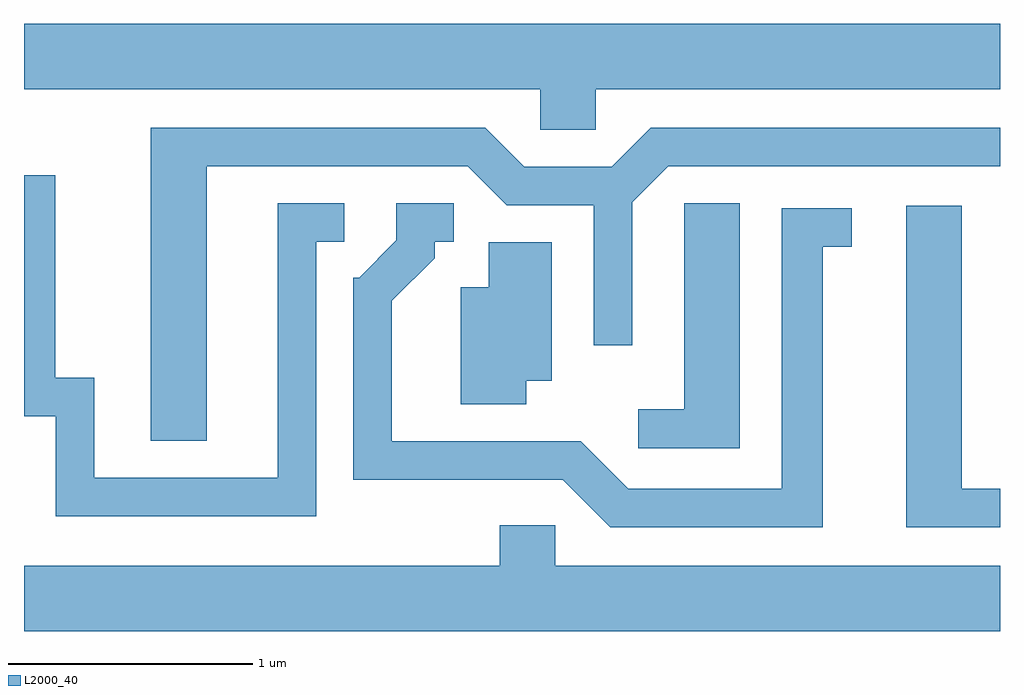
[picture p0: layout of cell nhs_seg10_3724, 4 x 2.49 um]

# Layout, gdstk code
import gdstk
lib = gdstk.Library(unit=1e-6, precision=1e-09)
def P(c, l, *ps):  # polygons
    for p in ps: c.add(gdstk.Polygon(p, *l))
L2000_40 = (2000, 40)

nhs_seg10_3724 = lib.new_cell('nhs_seg10_3724')
P(nhs_seg10_3724, L2000_40, [(297.954,2085.056),(299.611,2085.056),(299.611,2085.324),(295.611,2085.324),(295.611,2085.056),(297.726,2085.056),(297.726,2084.891),(297.954,2084.891)],
  [(296.359,2084.741),(297.429,2084.741),(297.589,2084.581),(297.946,2084.581),(297.946,2084.008),(298.104,2084.008),(298.104,2084.594),(298.252,2084.741),(299.611,2084.741),(299.611,2084.899),(298.179,2084.899),(298.019,2084.739),(297.662,2084.739),(297.502,2084.899),(296.131,2084.899),(296.131,2083.616),(296.359,2083.616)],
  [(296.809,2084.431),(296.923,2084.431),(296.923,2084.589),(296.651,2084.589),(296.651,2083.464),(295.899,2083.464),(295.899,2083.874),(295.739,2083.874),(295.739,2084.704),(295.611,2084.704),(295.611,2083.716),(295.741,2083.716),(295.741,2083.306),(296.809,2083.306)],
  [(298.884,2084.411),(299.003,2084.411),(299.003,2084.569),(298.716,2084.569),(298.716,2083.419),(298.087,2083.419),(297.892,2083.614),(297.119,2083.614),(297.119,2084.189),(297.294,2084.364),(297.294,2084.431),(297.373,2084.431),(297.373,2084.589),(297.136,2084.589),(297.136,2084.437),(296.984,2084.284),(296.961,2084.284),(296.961,2083.456),(297.819,2083.456),(298.014,2083.261),(298.884,2083.261)],
  [(298.544,2084.589),(298.316,2084.589),(298.316,2083.744),(298.128,2083.744),(298.128,2083.586),(298.544,2083.586)],
  [(299.611,2083.419),(299.454,2083.419),(299.454,2084.579),(299.226,2084.579),(299.226,2083.261),(299.611,2083.261)],
  [(297.669,2083.861),(297.774,2083.861),(297.774,2084.429),(297.516,2084.429),(297.516,2084.244),(297.401,2084.244),(297.401,2083.766),(297.669,2083.766)],
  [(299.611,2083.104),(297.789,2083.104),(297.789,2083.269),(297.561,2083.269),(297.561,2083.104),(295.611,2083.104),(295.611,2082.836),(299.611,2082.836)])

lib.write_gds('nhs_seg10_3724.gds')
